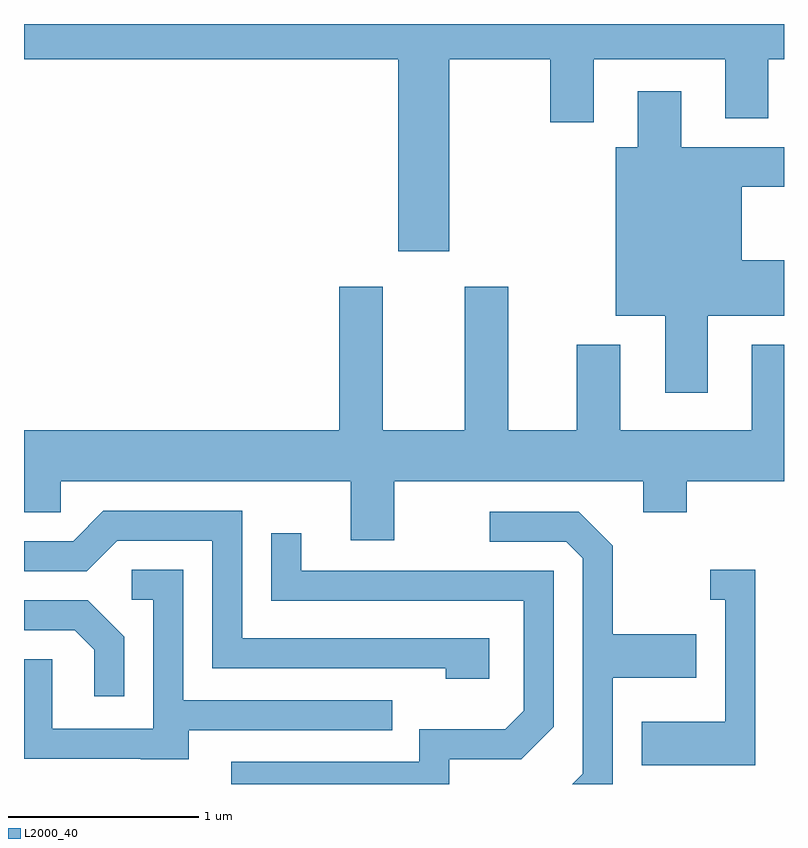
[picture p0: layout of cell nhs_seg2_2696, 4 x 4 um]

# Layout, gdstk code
import gdstk
lib = gdstk.Library(unit=1e-6, precision=1e-09)
def P(c, l, *ps):  # polygons
    for p in ps: c.add(gdstk.Polygon(p, *l))
L2000_40 = (2000, 40)

nhs_seg2_2696 = lib.new_cell('nhs_seg2_2696')
P(nhs_seg2_2696, L2000_40, [(265.849,1081.616),(266.381,1081.616),(266.381,1081.286),(266.609,1081.286),(266.609,1081.616),(267.301,1081.616),(267.301,1081.306),(267.529,1081.306),(267.529,1081.616),(267.611,1081.616),(267.611,1081.802),(263.611,1081.802),(263.611,1081.616),(265.581,1081.616),(265.581,1080.606),(265.849,1080.606)],
  [(267.209,1080.266),(267.611,1080.266),(267.611,1080.559),(267.389,1080.559),(267.389,1080.946),(267.611,1080.946),(267.611,1081.154),(267.069,1081.154),(267.069,1081.449),(266.841,1081.449),(266.841,1081.154),(266.726,1081.154),(266.726,1080.266),(266.986,1080.266),(266.986,1079.861),(267.209,1079.861)],
  [(266.871,1079.231),(267.099,1079.231),(267.099,1079.396),(267.611,1079.396),(267.611,1080.114),(267.441,1080.114),(267.441,1079.664),(266.749,1079.664),(266.749,1080.114),(266.521,1080.114),(266.521,1079.664),(266.159,1079.664),(266.159,1080.419),(265.931,1080.419),(265.931,1079.664),(265.499,1079.664),(265.499,1080.419),(265.271,1080.419),(265.271,1079.664),(263.611,1079.664),(263.611,1079.231),(263.804,1079.231),(263.804,1079.396),(265.331,1079.396),(265.331,1079.086),(265.559,1079.086),(265.559,1079.396),(266.871,1079.396)],
  [(266.059,1078.569),(264.759,1078.569),(264.759,1079.239),(264.029,1079.239),(263.869,1079.079),(263.611,1079.079),(263.611,1078.921),(263.942,1078.921),(264.102,1079.081),(264.601,1079.081),(264.601,1078.411),(265.831,1078.411),(265.831,1078.356),(266.059,1078.356)],
  [(266.709,1078.361),(267.149,1078.361),(267.149,1078.589),(266.709,1078.589),(266.709,1079.057),(266.532,1079.234),(266.063,1079.234),(266.063,1079.076),(266.464,1079.076),(266.551,1078.989),(266.551,1077.857),(266.497,1077.802),(266.709,1077.802)],
  [(265.849,1077.931),(266.227,1077.931),(266.399,1078.104),(266.399,1078.924),(265.069,1078.924),(265.069,1079.123),(264.911,1079.123),(264.911,1078.766),(266.241,1078.766),(266.241,1078.187),(266.144,1078.089),(265.691,1078.089),(265.691,1077.919),(264.701,1077.919),(264.701,1077.802),(265.849,1077.802)],
  [(267.459,1078.929),(267.223,1078.929),(267.223,1078.771),(267.301,1078.771),(267.301,1078.129),(266.861,1078.129),(266.861,1077.901),(267.459,1077.901)],
  [(264.479,1078.086),(265.548,1078.086),(265.548,1078.244),(264.449,1078.244),(264.449,1078.929),(264.178,1078.929),(264.178,1078.771),(264.291,1078.771),(264.291,1078.094),(263.759,1078.094),(263.759,1078.459),(263.611,1078.459),(263.611,1077.936),(264.225,1077.936),(264.225,1077.931),(264.479,1077.931)],
  [(264.139,1078.577),(263.947,1078.769),(263.611,1078.769),(263.611,1078.611),(263.879,1078.611),(263.981,1078.509),(263.981,1078.263),(264.139,1078.263)])

lib.write_gds('nhs_seg2_2696.gds')
